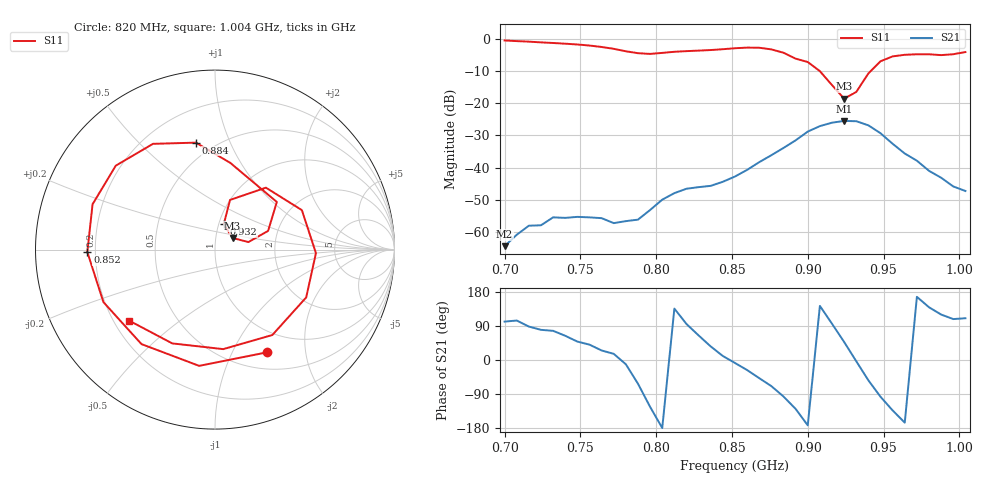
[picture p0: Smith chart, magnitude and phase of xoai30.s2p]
# Hz S RI R 50
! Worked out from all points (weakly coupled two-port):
!   39 points, 700 MHz to 1.004 GHz, reference 50 ohm
!   highest |S21| = -25.50 dB at 924 MHz (marker M1); lowest = -64.4 dB at 700 MHz (marker M2)
!   lowest |S11| = -18.6 dB at 924 MHz (marker M3), VSWR 1.27, Z = 60.3 + j7.93 ohm
!   |S11| at or under -10 dB: 907.8 MHz to 941.6 MHz (33.85 MHz wide, 3.66 % of centre)
!   S12 and S22 are empty: the file has one direction only
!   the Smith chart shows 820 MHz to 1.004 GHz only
!   S11 on the Smith chart (normalised r, x): 820 MHz: 0.71, -1.37; 852 MHz: 0.17, -0.01; 884 MHz: 0.40, +0.75; 932 MHz: 1.06, +0.31; 1.004 GHz: 0.26, -0.34
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7e8  0.7569 0.5561  -0.000119 0.000593  0 0  0 0
7.24e8  0.8423 -0.2438  0.00023 0.00126  0 0  0 0
7.4e8  0.4573 -0.7007  0.000731 0.00149  0 0  0 0
7.56e8  -0.19 -0.7602  0.00129 0.0011  0 0  0 0
7.72e8  -0.667 -0.2014  0.00132 0.000386  0 0  0 0
7.8e8  -0.5992 0.2201  0.00145 -0.000291  0 0  0 0
7.88e8  -0.2573 0.5374  0.000717 -0.00139  0 0  0 0
7.96e8  0.2303 0.5331  -0.00122 -0.00183  0 0  0 0
8.04e8  0.5713 0.191  -0.00319 -3.1e-05  0 0  0 0
8.2e8  0.288 -0.5728  -0.000407 0.00469  0 0  0 0
8.36e8  -0.4097 -0.5265  0.00424 0.00305  0 0  0 0
8.52e8  -0.7113 -0.0135  0.00722 -0.001  0 0  0 0
8.68e8  -0.5529 0.4677  0.00815 -0.00903  0 0  0 0
8.84e8  -0.1066 0.5959  -0.00226 -0.0201  0 0  0 0
9e8  0.3445 0.2654  -0.0359 -0.00478  0 0  0 0
9.08e8  0.2958 0.1042  -0.0351 0.0267  0 0  0 0
9.24e8  0.0981 0.0649  0.0358 0.0392  0 0  0 0
9.32e8  0.0488 0.1411  0.0524 -0.003  0 0  0 0
9.48e8  0.2835 0.3451  -0.00417 -0.0339  0 0  0 0
9.56e8  0.484 0.2198  -0.016 -0.0171  0 0  0 0
9.8e8  0.3197 -0.4757  -0.00674 0.00584  0 0  0 0
1.004e9  -0.477 -0.3965  -0.0015 0.00408  0 0  0 0
